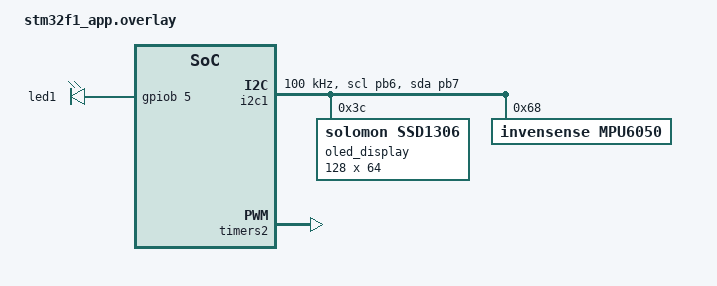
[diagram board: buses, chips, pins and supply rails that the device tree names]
#include <zephyr/dt-bindings/pwm/pwm.h>
#include <zephyr/dt-bindings/pinctrl/stm32f1-pinctrl.h>

&pinctrl {
    tim1_ch1_pwm_out_pa11: tim1_ch1_pwm_out_pa11 {
        pinmux = < 0x33020 >; /* in modules/hal/stm32/dts/st/f1/stm32f103r(8-b)tx-pinctrl.dtsi:756 */
    };
};


&i2c1 {
    status = "okay";
    pinctrl-0 = <&i2c1_scl_pb6 &i2c1_sda_pb7>;
    pinctrl-names = "default";
    clock-frequency = <I2C_BITRATE_STANDARD>;

    oled_display: ssd1306@3c {
        compatible = "solomon,ssd1306";
        reg = <0x3c>;
        status = "okay";
        width = <128>;
        height = <64>;
        segment-offset = <0>;
        page-offset = <0>;
        display-offset = <0>;
        multiplex-ratio = <63>;
        segment-remap;
        com-invdir;
        prechargep = <0x22>;
        softreset-on;
        ready-time-ms = <100>;
    };

    mpu6050: mpu6050@68 {
        compatible = "invensense,mpu6050";
        reg = <0x68>;
        status = "okay";
        smplrt-div = <249>;
        /* optional if you use interrupt:
        int-gpios = <&gpio0 11 GPIO_ACTIVE_HIGH>;
        */
    };
};

&timers1 {
    st,prescaler = <71>;
};

&timers2 {
    st,prescaler = <71>;
    status = "okay";
    pwm2: pwm
    {
        status = "okay";
        pinctrl-0 = < &tim1_ch1_pwm_out_pa11 >;
        pinctrl-names = "default"; 
    };
};

/ {
    chosen {
        zephyr,display = &oled_display;
    };
    leds {
        compatible = "gpio-leds";
        led1: led1 {
            gpios = <&gpiob 5 GPIO_ACTIVE_HIGH>;
        };
    };
    aliases {
        motor-1 = &pwm1;
        motor-dir = &led1;
	};
};

